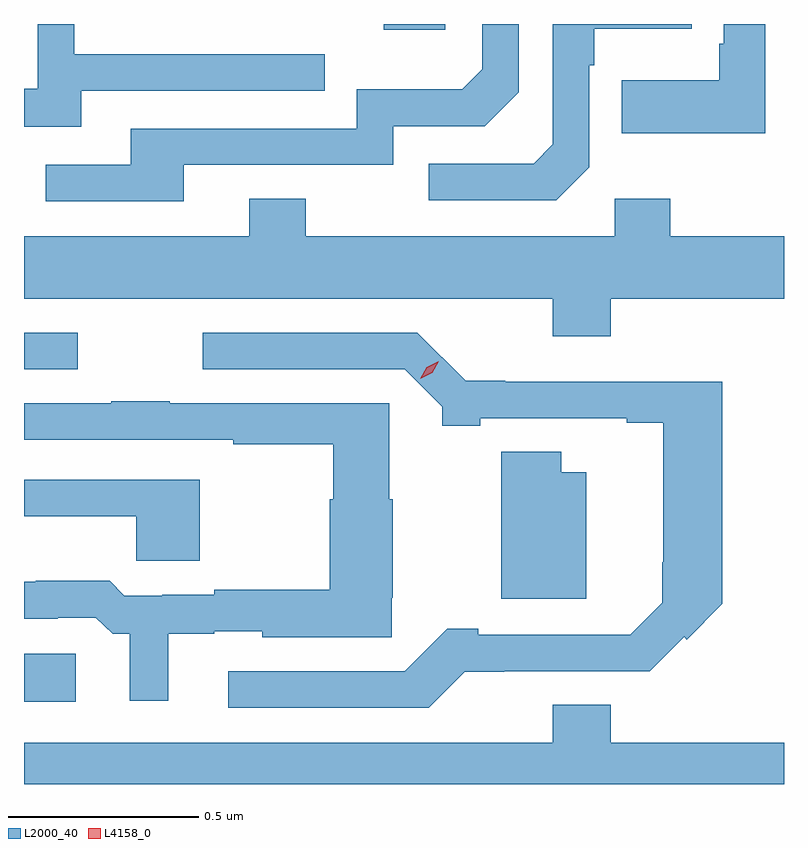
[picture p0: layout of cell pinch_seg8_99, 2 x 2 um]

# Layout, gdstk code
import gdstk
lib = gdstk.Library(unit=1e-6, precision=1e-09)
def R(c, l, rs):  # rectangles x0, y0, x1, y1
    for r in rs: c.add(gdstk.rectangle(r[:2], r[2:], *l))
def P(c, l, *ps):  # polygons
    for p in ps: c.add(gdstk.Polygon(p, *l))
L2000_40 = (2000, 40)
L4158_0 = (4158, 0)

pinch_seg8_99 = lib.new_cell('pinch_seg8_99')
R(pinch_seg8_99, L2000_40, [(1059.636,1116.771,1059.772,1116.898), (1059.636,1117.647,1059.778,1117.743), (1060.583,1118.54,1060.744,1118.555)])
P(pinch_seg8_99, L2000_40, [(1061.124,1118.178),(1061.124,1118.447),(1061.137,1118.447),(1061.137,1118.543),(1061.393,1118.543),(1061.393,1118.555),(1061.028,1118.555),(1061.028,1118.238),(1060.977,1118.187),(1060.701,1118.187),(1060.701,1118.091),(1061.037,1118.091)],
  [(1061.587,1118.555),(1061.478,1118.555),(1061.478,1118.503),(1061.466,1118.503),(1061.466,1118.407),(1061.209,1118.407),(1061.209,1118.267),(1061.587,1118.267)],
  [(1060.057,1118.184),(1060.608,1118.184),(1060.608,1118.286),(1060.848,1118.286),(1060.938,1118.376),(1060.938,1118.555),(1060.842,1118.555),(1060.842,1118.436),(1060.789,1118.383),(1060.512,1118.383),(1060.512,1118.28),(1059.917,1118.28),(1059.917,1118.184),(1059.693,1118.184),(1059.693,1118.088),(1060.057,1118.088)],
  [(1059.787,1118.379),(1060.427,1118.379),(1060.427,1118.475),(1059.768,1118.475),(1059.768,1118.555),(1059.672,1118.555),(1059.672,1118.385),(1059.636,1118.385),(1059.636,1118.285),(1059.787,1118.285)],
  [(1061.18,1117.832),(1061.636,1117.832),(1061.636,1117.996),(1061.337,1117.996),(1061.337,1118.095),(1061.19,1118.095),(1061.19,1117.996),(1060.377,1117.996),(1060.377,1118.095),(1060.229,1118.095),(1060.229,1117.996),(1059.636,1117.996),(1059.636,1117.832),(1061.027,1117.832),(1061.027,1117.733),(1061.18,1117.733)],
  [(1060.796,1116.851),(1060.9,1116.851),(1060.9,1116.852),(1061.283,1116.852),(1061.373,1116.943),(1061.38,1116.935),(1061.474,1117.029),(1061.474,1117.614),(1060.903,1117.614),(1060.903,1117.616),(1060.799,1117.616),(1060.671,1117.743),(1060.107,1117.743),(1060.107,1117.647),(1060.638,1117.647),(1060.737,1117.548),(1060.737,1117.498),(1060.837,1117.498),(1060.837,1117.518),(1061.222,1117.518),(1061.222,1117.506),(1061.318,1117.506),(1061.318,1117.138),(1061.316,1117.138),(1061.316,1117.032),(1061.232,1116.948),(1060.831,1116.948),(1060.831,1116.964),(1060.75,1116.964),(1060.638,1116.852),(1060.173,1116.852),(1060.173,1116.756),(1060.701,1116.756)],
  [(1060.015,1116.95),(1060.137,1116.95),(1060.137,1116.957),(1060.263,1116.957),(1060.263,1116.941),(1060.604,1116.941),(1060.604,1117.045),(1060.606,1117.045),(1060.606,1117.305),(1060.597,1117.305),(1060.597,1117.557),(1060.019,1117.557),(1060.019,1117.562),(1059.865,1117.562),(1059.865,1117.557),(1059.636,1117.557),(1059.636,1117.461),(1060.186,1117.461),(1060.186,1117.449),(1060.45,1117.449),(1060.45,1117.305),(1060.441,1117.305),(1060.441,1117.066),(1060.137,1117.066),(1060.137,1117.053),(1060,1117.053),(1060,1117.05),(1059.9,1117.05),(1059.861,1117.09),(1059.667,1117.09),(1059.667,1117.087),(1059.636,1117.087),(1059.636,1116.99),(1059.725,1116.99),(1059.725,1116.993),(1059.825,1116.993),(1059.869,1116.95),(1059.914,1116.95),(1059.914,1116.774),(1060.015,1116.774)],
  [(1061.116,1117.375),(1061.05,1117.375),(1061.05,1117.429),(1060.892,1117.429),(1060.892,1117.043),(1061.116,1117.043)],
  [(1060.098,1117.356),(1059.636,1117.356),(1059.636,1117.259),(1059.932,1117.259),(1059.932,1117.143),(1060.098,1117.143)],
  [(1061.636,1116.664),(1061.18,1116.664),(1061.18,1116.763),(1061.027,1116.763),(1061.027,1116.664),(1059.636,1116.664),(1059.636,1116.555),(1061.636,1116.555)])
P(pinch_seg8_99, L4158_0, [(1060.679,1117.622),(1060.679,1117.622),(1060.696,1117.652),(1060.727,1117.667),(1060.728,1117.667),(1060.728,1117.667),(1060.71,1117.637),(1060.679,1117.622)])

lib.write_gds('pinch_seg8_99.gds')
